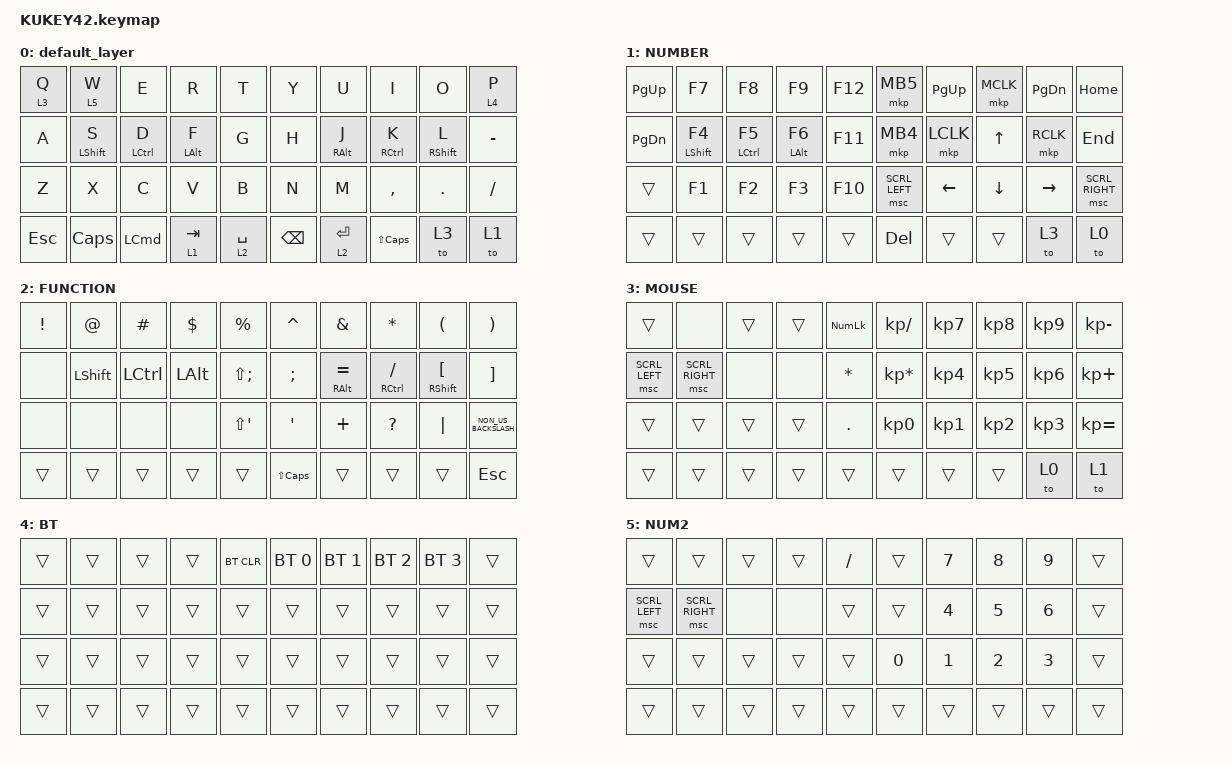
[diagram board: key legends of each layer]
#include <behaviors.dtsi>
#include <dt-bindings/zmk/bt.h>
#include <dt-bindings/zmk/keys.h>
#include <dt-bindings/zmk/pointing.h>

/* ========================================================================== */
/* クリーンキーマップ ＆ LT暴発防止（HM共有設定化）                             */
/* ========================================================================== */

/ {
    behaviors {
        // ホームポジション・モディファイア（元々の設定）

        hm: home_row_mods {
            compatible = "zmk,behavior-hold-tap";
            #binding-cells = <2>;
            tapping-term-ms = <250>;
            quick-tap-ms = <200>;
            require-prior-idle-ms = <125>;
            flavor = "balanced";
            bindings = <&kp>, <&kp>;
        };

        // 💡 LT（レイヤー・タップ）の挙動を HM と完全に同じ挙動・タイムアウトに統一

        custom_lt: custom_layer_taps {
            compatible = "zmk,behavior-hold-tap";
            #binding-cells = <2>;
            tapping-term-ms = <250>;      // HMと同じ250msに統一
            quick-tap-ms = <200>;         // 連続タップ時の挙動を安定化
            require-prior-idle-ms = <125>;// 高速タイピング時の暴発を防止
            flavor = "balanced";          // ロール対策（balancedに統一）
            bindings = <&mo>, <&kp>;
        };
    };
};

/* --- 標準のmtはそのまま最適化 --- */

&mt {
    flavor = "hold-preferred";
    tapping-term-ms = <170>;
};

/ {
    combos { compatible = "zmk,combos"; };

    keymap {
        compatible = "zmk,keymap";

        /* レイヤー0：default_layer */

        default_layer {
            bindings = <
&custom_lt 3 Q  &custom_lt 5 W    &kp E        &kp R             &kp T               &kp Y     &kp U               &kp I             &kp O        &custom_lt 4 P
&kp A           &hm LEFT_SHIFT S  &hm LCTRL D  &hm LEFT_ALT F    &kp G               &kp H     &hm RIGHT_ALT J     &hm RCTRL K       &hm RSHFT L  &kp MINUS
&kp Z           &kp X             &kp C        &kp V             &kp B               &kp N     &kp M               &kp COMMA         &kp DOT      &kp SLASH
&kp ESC         &kp CAPSLOCK      &kp LCMD     &custom_lt 1 TAB  &custom_lt 2 SPACE  &kp BSPC  &custom_lt 2 ENTER  &kp LS(CAPSLOCK)  &to 3        &to 1
            >;
        };

        /* レイヤー1：MOUSE */

        MOUSE {
            label = "NUMBER";
            bindings = <
&kp PAGE_UP    &kp F7        &kp F8        &kp F9           &kp F12  &mkp MB5        &kp PAGE_UP  &mkp MCLK  &kp PAGE_DOWN  &kp HOME
&kp PAGE_DOWN  &hm LSHFT F4  &hm LCTRL F5  &hm LEFT_ALT F6  &kp F11  &mkp MB4        &mkp LCLK    &kp UP     &mkp RCLK      &kp END
&trans         &kp F1        &kp F2        &kp F3           &kp F10  &msc SCRL_LEFT  &kp LEFT     &kp DOWN   &kp RIGHT      &msc SCRL_RIGHT
&trans         &trans        &trans        &trans           &trans   &kp DELETE      &trans       &trans     &to 3          &to 0
            >;
        };

        /* レイヤー2：KIGO */

        KIGO {
            label = "FUNCTION";
            bindings = <
&kp EXCLAMATION  &kp AT_SIGN  &kp HASH   &kp DOLLAR    &kp PERCENT        &kp CARET      &kp AMPERSAND   &kp ASTERISK     &kp LEFT_PARENTHESIS    &kp RIGHT_PARENTHESIS
&none            &kp LSHFT    &kp LCTRL  &kp LEFT_ALT  &kp LS(SEMICOLON)  &kp SEMICOLON  &hm RALT EQUAL  &hm RCTRL SLASH  &hm RSHFT LEFT_BRACKET  &kp RIGHT_BRACKET
&none            &none        &none      &none         &kp LS(SQT)        &kp SQT        &kp PLUS        &kp QUESTION     &kp PIPE                &kp NON_US_BACKSLASH
&trans           &trans       &trans     &trans        &trans             &kp LS(CAPS)   &trans          &trans           &trans                  &kp ESCAPE
            >;
        };

        /* レイヤー3：NUM */

        NUM {
            label = "MOUSE";
            bindings = <
&trans          &none           &trans  &trans  &kp KP_NUMLOCK  &kp KP_SLASH     &kp KP_N7  &kp KP_N8  &kp KP_N9  &kp KP_MINUS
&msc SCRL_LEFT  &msc SCRL_RIGHT &none   &none   &kp ASTERISK    &kp KP_MULTIPLY  &kp KP_N4  &kp KP_N5  &kp KP_N6  &kp KP_PLUS
&trans          &trans          &trans  &trans  &kp PERIOD      &kp KP_NUMBER_0  &kp KP_N1  &kp KP_N2  &kp KP_N3  &kp KP_EQUAL
&trans          &trans          &trans  &trans  &trans          &trans           &trans     &trans     &to 0      &to 1
            >;
        };

        /* レイヤー4：BT */

        BT {
            bindings = <
&trans  &trans  &trans  &trans  &bt BT_CLR  &bt BT_SEL 0  &bt BT_SEL 1  &bt BT_SEL 2  &bt BT_SEL 3  &trans
&trans  &trans  &trans  &trans  &trans      &trans        &trans        &trans        &trans        &trans
&trans  &trans  &trans  &trans  &trans      &trans        &trans        &trans        &trans        &trans
&trans  &trans  &trans  &trans  &trans      &trans        &trans        &trans        &trans        &trans
            >;
        };

        /* レイヤー5：NUM2 */

        NUM2 {
            bindings = <
&trans          &trans          &trans  &trans  &kp SLASH  &trans  &kp N7  &kp N8  &kp N9  &trans
&msc SCRL_LEFT  &msc SCRL_RIGHT &none   &none   &trans     &trans  &kp N4  &kp N5  &kp N6  &trans
&trans          &trans          &trans  &trans  &trans     &kp N0  &kp N1  &kp N2  &kp N3  &trans
&trans          &trans          &trans  &trans  &trans     &trans  &trans  &trans  &trans  &trans
            >;
        };
    };
};
